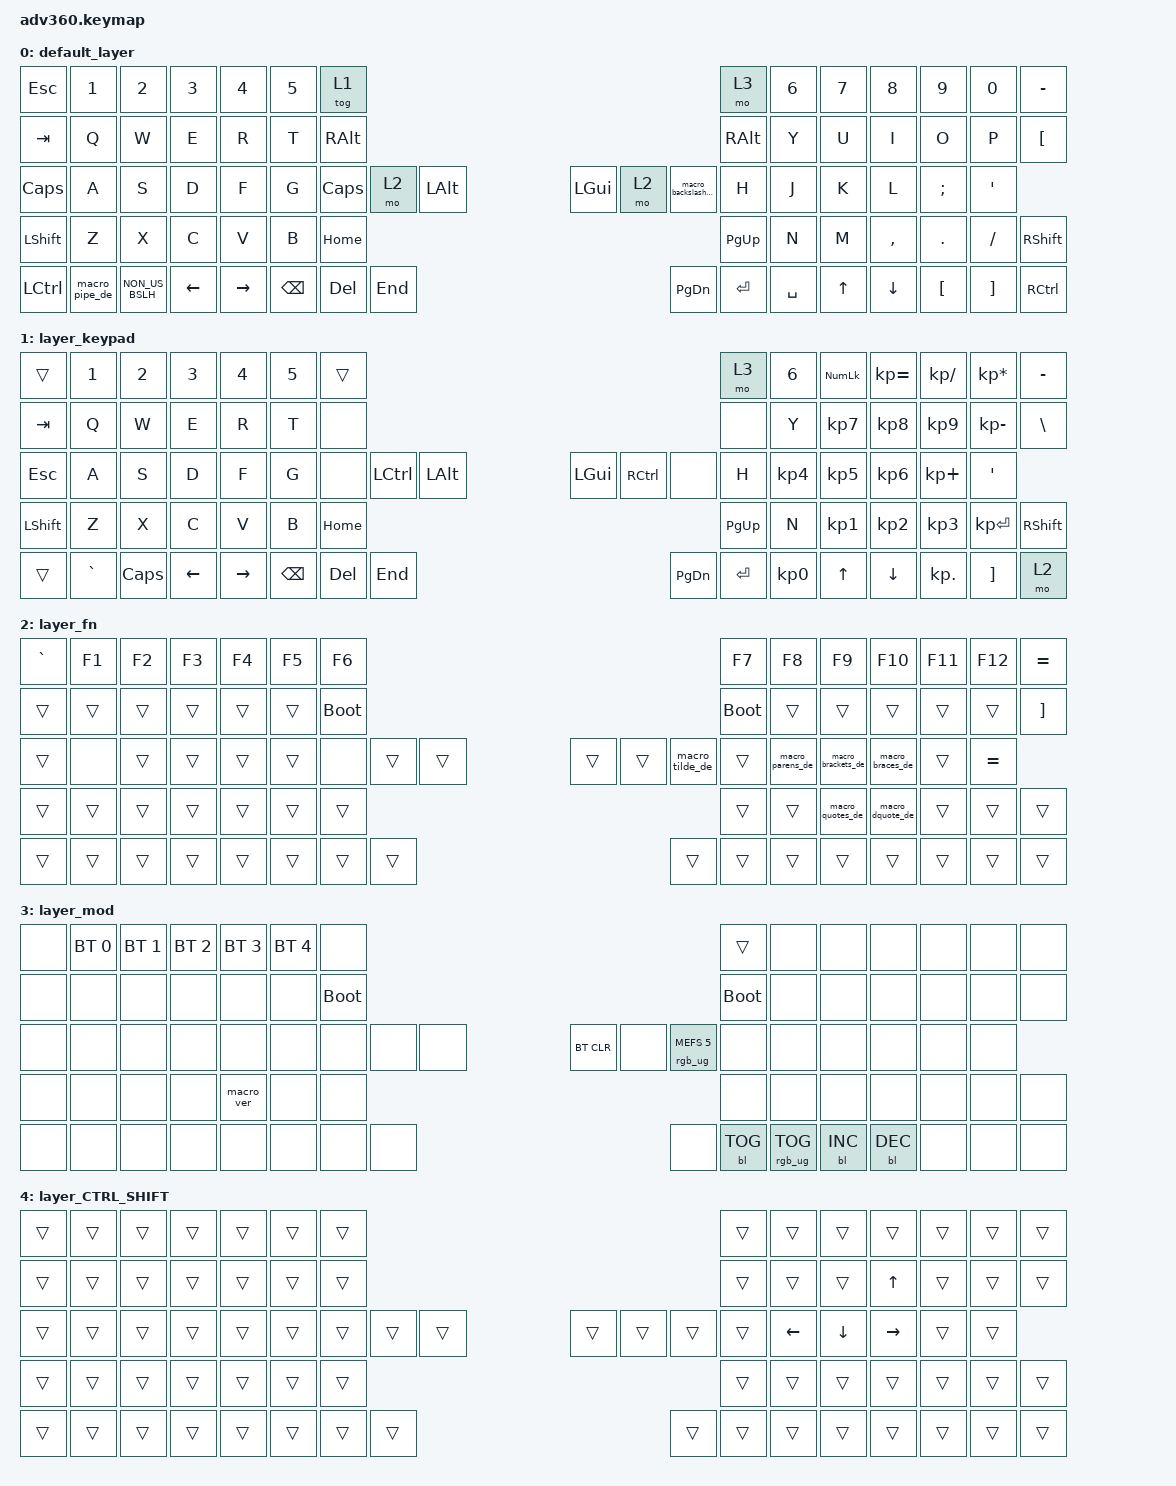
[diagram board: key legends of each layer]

/*
 * Copyright (c) 2020 The ZMK Contributors
 *
 * SPDX-License-Identifier: MIT
 */


/* THIS FILE WAS GENERATED!
 *
 * This file was generated automatically. You may or may not want to
 * edit it directly.
 */

#include <behaviors.dtsi>
#include <dt-bindings/zmk/keys.h>
#include <dt-bindings/zmk/bt.h>
#include <dt-bindings/zmk/rgb.h>
#include <dt-bindings/zmk/backlight.h>

#define KEYS_LEFT 0 1 2 3 4 5 6 \
                  14 15 16 17 18 19 20 \
                  28 29 30 31 32 33 34 \
                  46 47 48 49 50 51 \
                  66 67 68 69 70

#define KEYS_RIGHT 7 8 9 10 11 12 13 \
                   21 22 23 24 25 26 27 \
                   39 40 41 42 43 44 45 \
                   60 61 62 63 64 65 \
                   77 78 79 80 81

#define THUMBS_LEFT 35 36 54 71 72 73

#define THUMBS_RIGHT 37 38 57 74 75 76

#define THUMBS THUMBS_LEFT THUMBS_RIGHT

/ {
  combos {
    compatible = "zmk,combos";

    ctrl_shift {
      key-positions = <46 66>;
      bindings = <&mo 4>;
    };
  };

/ {
  behaviors {
    #include "macros.dtsi"
    #include "version.dtsi"

    hm: homerow_mods {
        compatible = "zmk,behavior-hold-tap";
        label = "HOMEROW_MODS";
        #binding-cells = <2>;
        tapping-term-ms = <200>;
        quick_tap_ms = <175>;
        flavor = "tap-preferred";
        bindings = <&kp>, <&kp>;
    };
  };

    keymap {
        compatible = "zmk,keymap";


        default_layer {
            bindings = <
   &kp ESC          &kp N1           &kp N2    &kp N3     &kp N4  &kp N5              &tog 1                                                                         &mo 3  &kp N6  &kp N7     &kp N8    &kp N9    &kp N0  &kp MINUS
   &kp TAB           &kp Q            &kp W     &kp E      &kp R   &kp T            &kp RALT                                                                      &kp RALT   &kp Y   &kp U      &kp I     &kp O     &kp P   &kp LBKT
  &kp CAPS           &kp A            &kp S     &kp D      &kp F   &kp G            &kp CAPS    &mo 2  &kp LALT                   &kp LGUI      &mo 2  &macro_backslash_de   &kp H   &kp J      &kp K     &kp L  &kp SEMI    &kp SQT
 &kp LSHFT           &kp Z            &kp X     &kp C      &kp V   &kp B                               &kp HOME                  &kp PG_UP                                   &kp N   &kp M  &kp COMMA   &kp DOT  &kp FSLH  &kp RSHFT
 &kp LCTRL  &macro_pipe_de  &kp NON_US_BSLH  &kp LEFT  &kp RIGHT                    &kp BSPC  &kp DEL   &kp END                  &kp PG_DN  &kp ENTER            &kp SPACE          &kp UP   &kp DOWN  &kp LBKT  &kp RBKT  &kp RCTRL
            >;
        };

        layer_keypad {
            bindings = <
    &trans     &kp N1    &kp N2    &kp N3     &kp N4  &kp N5              &trans                                                                 &mo 3  &kp N6  &kp KP_NUM  &kp KP_EQUAL  &kp KP_DIVIDE  &kp KP_MULTIPLY  &kp MINUS
   &kp TAB      &kp Q     &kp W     &kp E      &kp R   &kp T               &none                                                                 &none   &kp Y   &kp KP_N7     &kp KP_N8      &kp KP_N9     &kp KP_MINUS   &kp BSLH
   &kp ESC      &kp A     &kp S     &kp D      &kp F   &kp G               &none  &kp LCTRL  &kp LALT                   &kp LGUI  &kp RCTRL      &none   &kp H   &kp KP_N4     &kp KP_N5      &kp KP_N6      &kp KP_PLUS    &kp SQT
 &kp LSHFT      &kp Z     &kp X     &kp C      &kp V   &kp B                                 &kp HOME                  &kp PG_UP                         &kp N   &kp KP_N1     &kp KP_N2      &kp KP_N3     &kp KP_ENTER  &kp RSHFT
    &trans  &kp GRAVE  &kp CAPS  &kp LEFT  &kp RIGHT                    &kp BSPC    &kp DEL   &kp END                  &kp PG_DN  &kp ENTER  &kp KP_N0              &kp UP      &kp DOWN     &kp KP_DOT         &kp RBKT      &mo 2
            >;
        };

        layer_fn {
            bindings = <
 &kp GRAVE  &kp F1  &kp F2  &kp F3  &kp F4  &kp F5                 &kp F6                                                           &kp F7  &kp F8            &kp F9             &kp F10           &kp F11  &kp F12  &kp EQUAL
    &trans  &trans  &trans  &trans  &trans  &trans            &bootloader                                                      &bootloader  &trans            &trans              &trans            &trans   &trans   &kp RBKT
    &trans   &none  &trans  &trans  &trans  &trans                  &none  &trans  &trans                  &trans  &trans  &macro_tilde_de  &trans  &macro_parens_de  &macro_brackets_de  &macro_braces_de   &trans  &kp EQUAL
    &trans  &trans  &trans  &trans  &trans  &trans                                 &trans                  &trans                           &trans  &macro_quotes_de    &macro_dquote_de            &trans   &trans     &trans
    &trans  &trans  &trans  &trans  &trans                         &trans  &trans  &trans                  &trans  &trans           &trans                    &trans              &trans            &trans   &trans     &trans
            >;
        };

        layer_mod {
            bindings = <
  &none  &bt BT_SEL 0  &bt BT_SEL 1  &bt BT_SEL 2  &bt BT_SEL 3  &bt BT_SEL 4                  &none                                                                          &trans   &none       &none       &none   &none   &none   &none
  &none         &none         &none         &none         &none         &none            &bootloader                                                                     &bootloader   &none       &none       &none   &none   &none   &none
  &none         &none         &none         &none         &none         &none                  &none   &none   &none                  &bt BT_CLR       &none  &rgb_ug RGB_MEFS_CMD 5   &none       &none       &none   &none   &none   &none
  &none         &none         &none         &none    &macro_ver         &none                                  &none                       &none                                       &none       &none       &none   &none   &none   &none
  &none         &none         &none         &none         &none                                &none   &none   &none                       &none  &bl BL_TOG         &rgb_ug RGB_TOG          &bl BL_INC  &bl BL_DEC   &none   &none   &none
            >;
        };

        layer_CTRL_SHIFT {
            bindings = <
 &trans  &trans  &trans  &trans  &trans  &trans            &trans                                                  &trans  &trans    &trans    &trans     &trans  &trans  &trans
 &trans  &trans  &trans  &trans  &trans  &trans            &trans                                                  &trans  &trans    &trans    &kp UP     &trans  &trans  &trans
 &trans  &trans  &trans  &trans  &trans  &trans            &trans  &trans  &trans                  &trans  &trans  &trans  &trans  &kp LEFT  &kp DOWN  &kp RIGHT  &trans  &trans
 &trans  &trans  &trans  &trans  &trans  &trans                            &trans                  &trans                  &trans    &trans    &trans     &trans  &trans  &trans
 &trans  &trans  &trans  &trans  &trans                    &trans  &trans  &trans                  &trans  &trans  &trans            &trans    &trans     &trans  &trans  &trans
            >;
        };

    };
};
